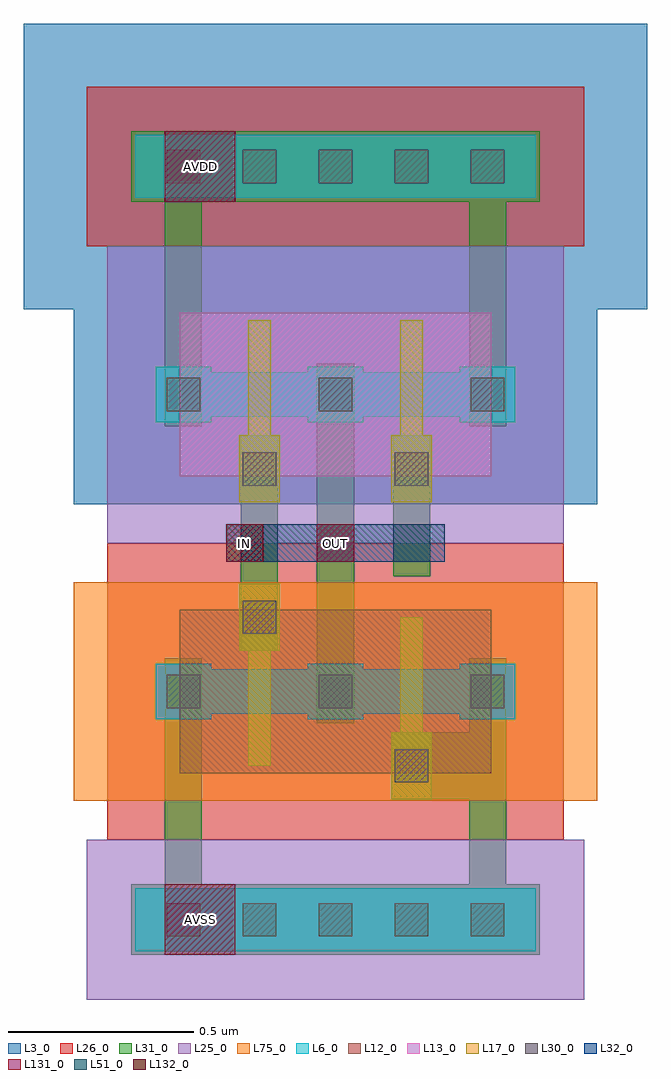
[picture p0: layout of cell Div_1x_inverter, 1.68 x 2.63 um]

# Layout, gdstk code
from math import pi, radians
import gdstk
lib = gdstk.Library(unit=1e-6, precision=1e-09)
def R(c, l, rs):  # rectangles x0, y0, x1, y1
    for r in rs: c.add(gdstk.rectangle(r[:2], r[2:], *l))
def A(c, l, x, y, w, h, nx, ny, dx, dy):  # array of equal rectangles
    R(c, l, [(x+i*dx, y+j*dy, x+i*dx+w, y+j*dy+h) for i in range(nx) for j in range(ny)])
L3_0 = (3, 0)
L6_0 = (6, 0)
L12_0 = (12, 0)
L13_0 = (13, 0)
L17_0 = (17, 0)
L25_0 = (25, 0)
L26_0 = (26, 0)
L30_0 = (30, 0)
L31_0 = (31, 0)
L32_0 = (32, 0)
L51_0 = (51, 0)
L75_0 = (75, 0)
L131_0 = (131, 0)
L132_0 = (132, 0)

nch_lvt_cdns_78847390883 = lib.new_cell('nch_lvt_CDNS_788473908830')
R(nch_lvt_cdns_78847390883, L6_0, [(-0.25,-0.015,-0.1,0.135), (-0.25,0,0,0.12), (0,0,0.06,0.12), (0.06,0,0.16,0.12)])
R(nch_lvt_cdns_78847390883, L12_0, [(-0.185,-0.16,0.245,0.28)])
R(nch_lvt_cdns_78847390883, L17_0, [(0,-0.14,0.06,0), (0,0,0.06,0.12), (0,0.12,0.06,0.26)])
R(nch_lvt_cdns_78847390883, L26_0, [(-0.38,-0.34,0.29,0.46)])
R(nch_lvt_cdns_78847390883, L30_0, [(-0.22,0.015,-0.13,0.105)])
R(nch_lvt_cdns_78847390883, L31_0, [(-0.22,-0.025,-0.13,0.145)])
R(nch_lvt_cdns_78847390883, L75_0, [(-0.47,-0.235,0.38,0.355)])
nch_lvt_cdns_78847390883.add(gdstk.Label('& SerialNumber 000000', (0,0), layer=63, texttype=63))
nch_lvt_cdns_78847390883.add(gdstk.Label('& Distributor TSMC', (0,0), layer=63, texttype=63))
nch_lvt_cdns_78847390883.add(gdstk.Label('& Metric 1', (0,0), layer=63, texttype=63))
nch_lvt_cdns_78847390883.add(gdstk.Label('& PDK TechNode "CRN65LP"', (0,0), layer=63, texttype=63))
nch_lvt_cdns_78847390883.add(gdstk.Label('& Product    tsmcN65_PDK', (0,0), layer=63, texttype=63))
nch_lvt_cdns_78847390883.add(gdstk.Label('& Vendor     Taiwan Semiconductor manufacturing Corp.', (0,0), layer=63, texttype=63))
nch_lvt_cdns_78847390883.add(gdstk.Label('[@instanceName]', (0.03,0.06), layer=127, texttype=0))
nch_lvt_cdns_78847390883.add(gdstk.Label('nch_lvt\n0.12/0.06\n', (0,0), layer=127, texttype=0))
nch_lvt_cdns_78847390883.add(gdstk.Label('S', (-0.175,0.06), layer=127, texttype=0))

pch_lvt_cdns_78847390883 = lib.new_cell('pch_lvt_CDNS_788473908831')
R(pch_lvt_cdns_78847390883, L3_0, [(-0.47,-0.235,0.94,0.355)])
A(pch_lvt_cdns_78847390883, L6_0, -0.25, -0.015, 0.15, 0.15, 3, 1, 0.41, 0)
R(pch_lvt_cdns_78847390883, L6_0, [(-0.25,0,0,0.12), (0,0,0.06,0.12), (0.06,0,0.47,0.12), (0.47,0,0.72,0.12)])
R(pch_lvt_cdns_78847390883, L13_0, [(-0.185,-0.16,0.655,0.28)])
R(pch_lvt_cdns_78847390883, L17_0, [(0,-0.14,0.06,0), (0.41,-0.14,0.47,0), (0,0,0.06,0.12), (0.41,0,0.47,0.12), (0,0.12,0.06,0.26), (0.41,0.12,0.47,0.26)])
R(pch_lvt_cdns_78847390883, L25_0, [(-0.38,-0.34,0.85,0.46)])
A(pch_lvt_cdns_78847390883, L30_0, -0.22, 0.015, 0.09, 0.09, 3, 1, 0.41, 0)
A(pch_lvt_cdns_78847390883, L31_0, -0.22, -0.025, 0.09, 0.17, 3, 1, 0.41, 0)
pch_lvt_cdns_78847390883.add(gdstk.Label('& SerialNumber 000000', (0,0), layer=63, texttype=63))
pch_lvt_cdns_78847390883.add(gdstk.Label('& Distributor TSMC', (0,0), layer=63, texttype=63))
pch_lvt_cdns_78847390883.add(gdstk.Label('& Metric 1', (0,0), layer=63, texttype=63))
pch_lvt_cdns_78847390883.add(gdstk.Label('& PDK TechNode "CRN65LP"', (0,0), layer=63, texttype=63))
pch_lvt_cdns_78847390883.add(gdstk.Label('& Product    tsmcN65_PDK', (0,0), layer=63, texttype=63))
pch_lvt_cdns_78847390883.add(gdstk.Label('& Vendor     Taiwan Semiconductor manufacturing Corp.', (0,0), layer=63, texttype=63))
pch_lvt_cdns_78847390883.add(gdstk.Label('[@instanceName]', (0.03,0.06), layer=127, texttype=0))
pch_lvt_cdns_78847390883.add(gdstk.Label('pch_lvt\n0.24/0.06\n', (0,0), layer=127, texttype=0))
pch_lvt_cdns_78847390883.add(gdstk.Label('D', (0.235,0.06), layer=127, texttype=0))
pch_lvt_cdns_78847390883.add(gdstk.Label('S', (0.645,0.06), layer=127, texttype=0))
pch_lvt_cdns_78847390883.add(gdstk.Label('S', (-0.175,0.06), layer=127, texttype=0))

c_nch_lvt_cdns_78847390883 = lib.new_cell('nch_lvt_CDNS_788473908832')
R(c_nch_lvt_cdns_78847390883, L6_0, [(-0.25,-0.015,-0.1,0.135), (0.16,-0.015,0.31,0.135), (-0.25,0,0,0.12), (0,0,0.06,0.12), (0.06,0,0.31,0.12)])
R(c_nch_lvt_cdns_78847390883, L12_0, [(-0.185,-0.16,0.245,0.28)])
R(c_nch_lvt_cdns_78847390883, L17_0, [(0,-0.14,0.06,0), (0,0,0.06,0.12), (0,0.12,0.06,0.26)])
R(c_nch_lvt_cdns_78847390883, L26_0, [(-0.38,-0.34,0.44,0.46)])
R(c_nch_lvt_cdns_78847390883, L30_0, [(-0.22,0.015,-0.13,0.105), (0.19,0.015,0.28,0.105)])
R(c_nch_lvt_cdns_78847390883, L31_0, [(-0.22,-0.025,-0.13,0.145), (0.19,-0.025,0.28,0.145)])
R(c_nch_lvt_cdns_78847390883, L75_0, [(-0.47,-0.235,0.53,0.355)])
c_nch_lvt_cdns_78847390883.add(gdstk.Label('& SerialNumber 000000', (0,0), layer=63, texttype=63))
c_nch_lvt_cdns_78847390883.add(gdstk.Label('& Distributor TSMC', (0,0), layer=63, texttype=63))
c_nch_lvt_cdns_78847390883.add(gdstk.Label('& Metric 1', (0,0), layer=63, texttype=63))
c_nch_lvt_cdns_78847390883.add(gdstk.Label('& PDK TechNode "CRN65LP"', (0,0), layer=63, texttype=63))
c_nch_lvt_cdns_78847390883.add(gdstk.Label('& Product    tsmcN65_PDK', (0,0), layer=63, texttype=63))
c_nch_lvt_cdns_78847390883.add(gdstk.Label('& Vendor     Taiwan Semiconductor manufacturing Corp.', (0,0), layer=63, texttype=63))
c_nch_lvt_cdns_78847390883.add(gdstk.Label('[@instanceName]', (0.03,0.06), layer=127, texttype=0))
c_nch_lvt_cdns_78847390883.add(gdstk.Label('nch_lvt\n0.12/0.06\n', (0,0), layer=127, texttype=0))
c_nch_lvt_cdns_78847390883.add(gdstk.Label('D', (0.235,0.06), layer=127, texttype=0))
c_nch_lvt_cdns_78847390883.add(gdstk.Label('S', (-0.175,0.06), layer=127, texttype=0))

m1_po_cdns_788473908830 = lib.new_cell('M1_PO_CDNS_788473908830')
R(m1_po_cdns_788473908830, L17_0, [(-0.055,-0.09,0.055,0.09)])
R(m1_po_cdns_788473908830, L30_0, [(-0.045,-0.045,0.045,0.045)])
R(m1_po_cdns_788473908830, L31_0, [(-0.045,-0.09,0.045,0.09)])

m2_m1_cdns_788473908831 = lib.new_cell('M2_M1_CDNS_788473908831')
R(m2_m1_cdns_788473908831, L31_0, [(-0.05,-0.09,0.05,0.09)])
R(m2_m1_cdns_788473908831, L32_0, [(-0.09,-0.05,0.09,0.05)])
R(m2_m1_cdns_788473908831, L51_0, [(-0.05,-0.05,0.05,0.05)])

div_1x_inverter = lib.new_cell('Div_1x_inverter')
A(div_1x_inverter, L30_0, -0.035, -0.045, 0.09, 0.09, 5, 2, 0.205, 2.03)
R(div_1x_inverter, L131_0, [(-0.04,-0.095,0.15,0.095), (0.37,0.965,0.47,1.065), (-0.04,1.935,0.15,2.125)])
R(div_1x_inverter, L132_0, [(0.125,0.965,0.225,1.065)])
div_1x_inverter.add(gdstk.FlexPath([(0.215,0.785),(0.245,0.785)], 0.06, ends=(0.03, 0), simple_path=True, layer=17, datatype=0))  # L17_0
div_1x_inverter.add(gdstk.FlexPath([(-0.035,0),(0.875,0)], 0.17, ends="extended", simple_path=True, layer=6, datatype=0))  # L6_0
div_1x_inverter.add(gdstk.FlexPath([(-0.035,2.03),(0.875,2.03)], 0.17, ends="extended", simple_path=True, layer=6, datatype=0))  # L6_0
div_1x_inverter.add(gdstk.FlexPath([(0.83,-0.045),(0.83,0.415)], 0.1, ends=(0, 0.09), simple_path=True, layer=31, datatype=0))  # L31_0
div_1x_inverter.add(gdstk.FlexPath([(0.57,0.415),(0.83,0.415)], 0.18, ends=(0, 0.05), simple_path=True, layer=31, datatype=0))  # L31_0
div_1x_inverter.add(gdstk.FlexPath([(0.01,0),(0.83,0)], 0.19, ends=(0.05, 0.05), simple_path=True, layer=31, datatype=0))  # L31_0
div_1x_inverter.add(gdstk.FlexPath([(0.01,2.03),(0.83,2.03)], 0.19, ends=(0.05, 0.05), simple_path=True, layer=31, datatype=0))  # L31_0
div_1x_inverter.add(gdstk.FlexPath([(0.01,0.655),(0.05,0.655)], 0.1, ends=(0.05, 0), simple_path=True, layer=31, datatype=0))  # L31_0
div_1x_inverter.add(gdstk.FlexPath([(0.01,-0.045),(0.01,0.655)], 0.1, ends=(0, 0.05), simple_path=True, layer=31, datatype=0))  # L31_0
div_1x_inverter.add(gdstk.FlexPath([(0.83,0.655),(0.87,0.655)], 0.1, ends=(0.05, 0), simple_path=True, layer=31, datatype=0))  # L31_0
div_1x_inverter.add(gdstk.FlexPath([(0.83,0.415),(0.83,0.655)], 0.1, ends=(0.09, 0.05), simple_path=True, layer=31, datatype=0))  # L31_0
div_1x_inverter.add(gdstk.FlexPath([(0.01,2.03),(0.05,2.03)], 0.1, ends=(0.05, 0), simple_path=True, layer=31, datatype=0))  # L31_0
div_1x_inverter.add(gdstk.FlexPath([(0.01,1.33),(0.01,2.03)], 0.1, ends=(0, 0.095), simple_path=True, layer=31, datatype=0))  # L31_0
div_1x_inverter.add(gdstk.FlexPath([(0.83,2.03),(0.87,2.03)], 0.1, ends=(0.05, 0), simple_path=True, layer=31, datatype=0))  # L31_0
div_1x_inverter.add(gdstk.FlexPath([(0.83,1.33),(0.83,2.03)], 0.1, ends=(0, 0.095), simple_path=True, layer=31, datatype=0))  # L31_0
div_1x_inverter.add(gdstk.FlexPath([(0.42,1.5),(0.42,0.53)], 0.1, ends="flush", simple_path=True, layer=31, datatype=0))  # L31_0
div_1x_inverter.add(gdstk.FlexPath([(0.625,1.305),(0.625,0.925)], 0.1, ends="flush", simple_path=True, layer=31, datatype=0))  # L31_0
div_1x_inverter.add(gdstk.FlexPath([(0.215,1.305),(0.215,0.725)], 0.1, ends="flush", simple_path=True, layer=31, datatype=0))  # L31_0
div_1x_inverter.add(gdstk.FlexPath([(-0.035,0),(0.875,0)], 0.19, ends="extended", simple_path=True, layer=31, datatype=0))  # L31_0
div_1x_inverter.add(gdstk.FlexPath([(-0.035,2.03),(0.875,2.03)], 0.19, ends="extended", simple_path=True, layer=31, datatype=0))  # L31_0
div_1x_inverter.add(gdstk.FlexPath([(-0.035,2.03),(0.875,2.03)], 0.43, ends="extended", simple_path=True, layer=26, datatype=0))  # L26_0
div_1x_inverter.add(gdstk.FlexPath([(-0.035,0),(0.875,0)], 0.43, ends="extended", simple_path=True, layer=25, datatype=0))  # L25_0
div_1x_inverter.add(gdstk.FlexPath([(-0.035,2.03),(0.875,2.03)], 0.77, ends="extended", simple_path=True, layer=3, datatype=0))  # L3_0
div_1x_inverter.add(gdstk.FlexPath([(0.125,1.015),(0.715,1.015)], 0.1, ends="flush", simple_path=True, layer=32, datatype=0))  # L32_0
div_1x_inverter.add(gdstk.Reference(nch_lvt_cdns_78847390883, (0.185,0.555)))
div_1x_inverter.add(gdstk.Reference(pch_lvt_cdns_78847390883, (0.185,1.355)))
div_1x_inverter.add(gdstk.Reference(c_nch_lvt_cdns_78847390883, (0.655,0.555), rotation=pi, x_reflection=True))
div_1x_inverter.add(gdstk.Reference(m1_po_cdns_788473908830, (0.625,0.415)))
div_1x_inverter.add(gdstk.Reference(m1_po_cdns_788473908830, (0.215,0.815)))
div_1x_inverter.add(gdstk.Reference(m1_po_cdns_788473908830, (0.625,1.215)))
div_1x_inverter.add(gdstk.Reference(m1_po_cdns_788473908830, (0.215,1.215)))
div_1x_inverter.add(gdstk.Reference(m2_m1_cdns_788473908831, (0.215,1.015)))
div_1x_inverter.add(gdstk.Reference(m2_m1_cdns_788473908831, (0.625,1.015)))
div_1x_inverter.add(gdstk.Label('AVSS', (0.055,0), layer=131, texttype=0))
div_1x_inverter.add(gdstk.Label('AVDD', (0.055,2.03), layer=131, texttype=0))
div_1x_inverter.add(gdstk.Label('OUT', (0.42,1.015), layer=131, texttype=0))
div_1x_inverter.add(gdstk.Label('IN', (0.175,1.015), layer=132, texttype=0))

lib.write_gds('Div_1x_inverter.gds')
